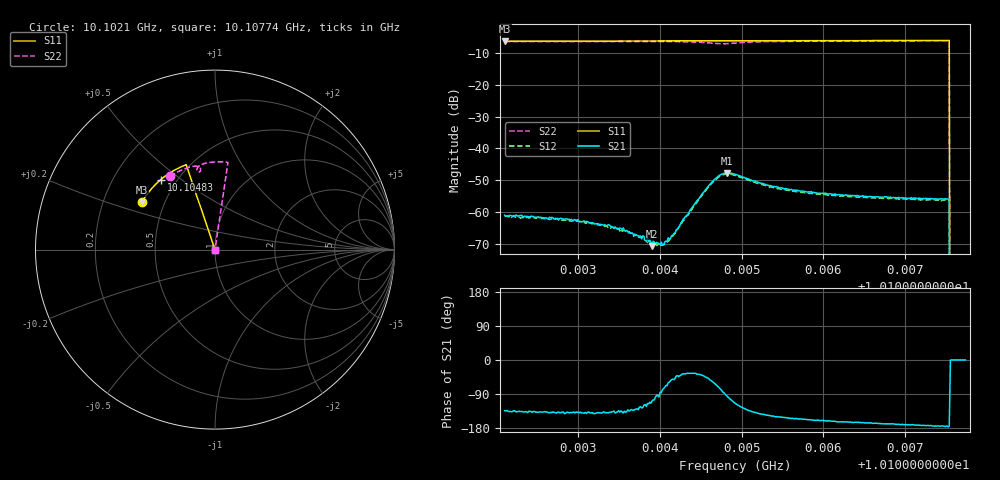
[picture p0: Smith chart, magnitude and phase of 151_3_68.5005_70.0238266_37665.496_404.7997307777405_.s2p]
#  HZ  S  RI  R  50.00
! Rohde & Schwarz Vector Network Analyzer
! Rohde-Schwarz,ZNB20-2Port,1311601062101988,3.16
! Created: UTC 3/20/2024, 4:55:17 PM
! freq[Hz]  re:S11  im:S11  re:S21  im:S21  re:S12  im:S12  re:S22  im:S22
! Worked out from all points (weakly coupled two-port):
!   401 points, 10.1021 GHz to 10.10774 GHz, reference 50 ohm
!   highest |S21| = -47.68 dB at 10.10482 GHz (marker M1); lowest = -70.7 dB at 10.1039 GHz (marker M2)
!   lowest |S11| = -6.3 dB at 10.1021 GHz (marker M3), VSWR 2.89, Z = 18.6 + j12.9 ohm
!   |S11| at or under -10 dB: 10.10754 GHz to end of sweep
!   |S22| runs from - to -6.2 dB; largest |S21 - S12| = 0.00042
!   S11 on the Smith chart (normalised r, x): 10.1021 GHz: 0.37, +0.26; 10.10483 GHz: 0.41, +0.42; 10.10774 GHz: 1.00, +0.00
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1.0102096e10  -0.4078 0.2636  -0.000617 -0.000646  -0.000539 -0.000665  -0.2495 0.4077
1.010266e10  -0.3896 0.2926  -0.000605 -0.000546  -0.00053 -0.000571  -0.218 0.4271
1.0103041e10  -0.3761 0.3114  -0.000536 -0.000449  -0.00049 -0.000488  -0.1956 0.439
1.0103521e10  -0.3579 0.3342  -0.000386 -0.000396  -0.000357 -0.000405  -0.1657 0.4519
1.0103747e10  -0.3489 0.3446  -0.000237 -0.000347  -0.000213 -0.000336  -0.1506 0.4573
1.0103817e10  -0.346 0.3479  -0.000172 -0.00033  -0.000118 -0.000341  -0.1457 0.4589
1.0103902e10  -0.3424 0.3515  -9.09e-05 -0.000277  -9.24e-05 -0.000318  -0.1397 0.4606
1.0103987e10  -0.3389 0.3554  -4.23e-05 -0.000317  4.56e-05 -0.000287  -0.1335 0.4621
1.0104057e10  -0.336 0.3583  0.000107 -0.000322  0.000107 -0.000301  -0.1279 0.4633
1.0104156e10  -0.3317 0.3628  0.000276 -0.000335  0.000285 -0.000304  -0.1201 0.4644
1.0104424e10  -0.3202 0.374  0.00109 -0.000765  0.0011 -0.000652  -0.0954 0.4626
1.010465e10  -0.3098 0.383  0.0016 -0.00263  0.00176 -0.00239  -0.0795 0.4439
1.0104748e10  -0.3053 0.3869  0.00076 -0.00384  0.00101 -0.00361  -0.0859 0.4338
1.0104819e10  -0.3022 0.3896  -0.000364 -0.00411  8.33e-06 -0.00395  -0.0945 0.4341
1.0104833e10  -0.3017 0.3903  -0.000591 -0.00406  -0.000212 -0.00394  -0.0961 0.4349
1.0104918e10  -0.2977 0.3935  -0.0016 -0.00358  -0.00124 -0.00356  -0.1011 0.4436
1.0105355e10  -0.2769 0.4099  -0.00219 -0.00142  -0.00196 -0.00154  -0.0756 0.4742
1.0105863e10  -0.2515 0.4273  -0.00189 -0.000756  -0.00173 -0.000894  -0.0387 0.4843
1.0106808e10  -0.2017 0.4554  -0.00166 -0.00033  -0.00156 -0.000462  0.0248 0.489
1.0107514e10  -0.1624 0.4724  -0.00161 -0.000171  -0.00149 -0.000302  0.0707 0.4863
1.0107584e10  0 0  0 0  0 0  0 0
1.010774e10  0 0  0 0  0 0  0 0
